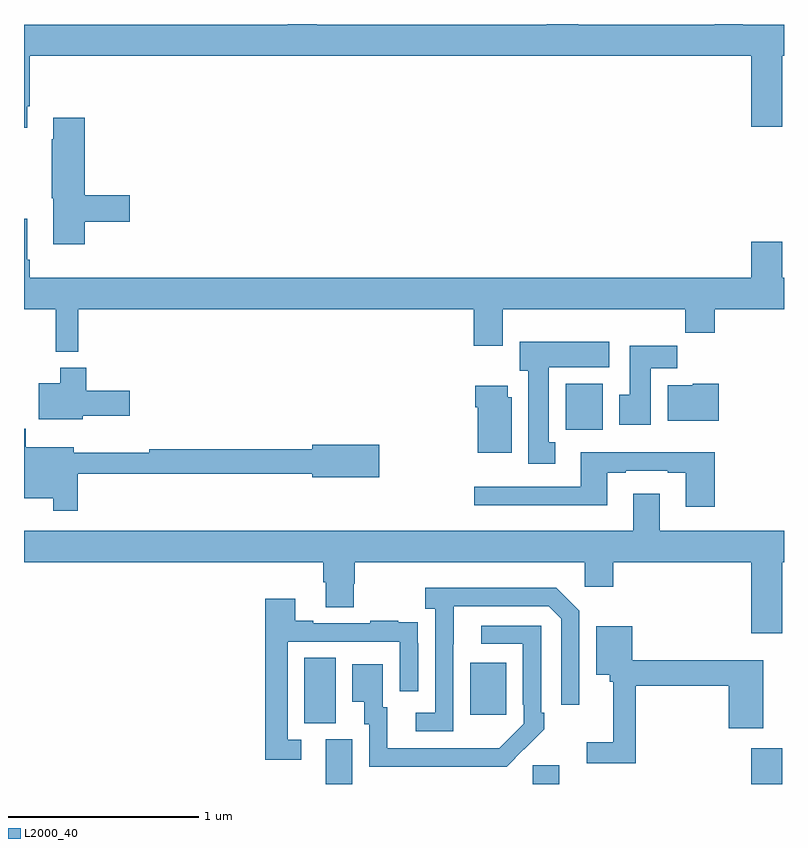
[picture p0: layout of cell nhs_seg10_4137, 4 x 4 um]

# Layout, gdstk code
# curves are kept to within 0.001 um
import gdstk
lib = gdstk.Library(unit=1e-6, precision=1e-09)
def R(c, l, rs):  # rectangles x0, y0, x1, y1
    for r in rs: c.add(gdstk.rectangle(r[:2], r[2:], *l))
def P(c, l, *ps):  # polygons
    for p in ps: c.add(gdstk.Polygon(p, *l))
L2000_40 = (2000, 40)

nhs_seg10_4137 = lib.new_cell('nhs_seg10_4137')
R(nhs_seg10_4137, L2000_40, [(342.587,1280.5,342.727,1280.736), (343.677,1280.5,343.816,1280.598), (344.828,1280.5,344.992,1280.689), (342.476,1280.821,342.64,1281.164), (343.349,1280.865,343.537,1281.139), (343.85,1282.364,344.047,1282.606)])
P(nhs_seg10_4137, L2000_40, [(341.017,1284.067),(341.03,1284.067),(341.03,1284.332),(344.828,1284.332),(344.828,1283.958),(344.992,1283.958),(344.992,1284.332),(345,1284.332),(345,1284.496),(344.782,1284.496),(344.782,1284.5),(344.635,1284.5),(344.635,1284.496),(343.916,1284.496),(343.916,1284.5),(343.751,1284.5),(343.751,1284.496),(342.54,1284.496),(342.54,1284.5),(342.389,1284.5),(342.389,1284.496),(341,1284.496),(341,1283.955),(341.017,1283.955)],
  [(341.321,1283.458),(341.557,1283.458),(341.557,1283.6),(341.321,1283.6),(341.321,1284.007),(341.153,1284.007),(341.153,1283.894),(341.146,1283.894),(341.146,1283.583),(341.153,1283.583),(341.153,1283.34),(341.321,1283.34)],
  [(341.285,1283),(343.367,1283),(343.367,1282.806),(343.519,1282.806),(343.519,1283),(344.479,1283),(344.479,1282.876),(344.636,1282.876),(344.636,1283),(345,1283),(345,1283.164),(344.992,1283.164),(344.992,1283.353),(344.828,1283.353),(344.828,1283.164),(341.03,1283.164),(341.03,1283.26),(341.017,1283.26),(341.017,1283.476),(341,1283.476),(341,1283),(341.168,1283),(341.168,1282.775),(341.285,1282.775)],
  [(343.795,1282.298),(343.762,1282.298),(343.762,1282.694),(344.08,1282.694),(344.08,1282.828),(343.61,1282.828),(343.61,1282.674),(343.655,1282.674),(343.655,1282.185),(343.795,1282.185)],
  [(344.299,1282.688),(344.438,1282.688),(344.438,1282.807),(344.189,1282.807),(344.189,1282.548),(344.132,1282.548),(344.132,1282.392),(344.299,1282.392)],
  [(341.31,1282.439),(341.557,1282.439),(341.557,1282.569),(341.327,1282.569),(341.327,1282.69),(341.192,1282.69),(341.192,1282.609),(341.078,1282.609),(341.078,1282.421),(341.31,1282.421)],
  [(344.656,1282.606),(344.52,1282.606),(344.52,1282.6),(344.387,1282.6),(344.387,1282.412),(344.656,1282.412)],
  [(343.567,1282.536),(343.546,1282.536),(343.546,1282.597),(343.376,1282.597),(343.376,1282.484),(343.388,1282.484),(343.388,1282.244),(343.567,1282.244)],
  [(341.282,1282.134),(342.518,1282.134),(342.518,1282.115),(342.871,1282.115),(342.871,1282.286),(342.518,1282.286),(342.518,1282.262),(341.659,1282.262),(341.659,1282.244),(341.263,1282.244),(341.263,1282.273),(341.009,1282.273),(341.009,1282.369),(341,1282.369),(341,1282.004),(341.154,1282.004),(341.154,1281.939),(341.282,1281.939)],
  [(344.636,1282.246),(343.931,1282.246),(343.931,1282.065),(343.371,1282.065),(343.371,1281.968),(344.071,1281.968),(344.071,1282.137),(344.167,1282.137),(344.167,1282.149),(344.387,1282.149),(344.387,1282.137),(344.483,1282.137),(344.483,1281.96),(344.636,1281.96)],
  [(341,1281.668),(342.575,1281.668),(342.575,1281.562),(342.587,1281.562),(342.587,1281.43),(342.735,1281.43),(342.735,1281.555),(342.74,1281.555),(342.74,1281.668),(343.95,1281.668),(343.95,1281.537),(344.102,1281.537),(344.102,1281.668),(344.828,1281.668),(344.828,1281.294),(344.992,1281.294),(344.992,1281.668),(345,1281.668),(345,1281.832),(344.347,1281.832),(344.347,1282.027),(344.207,1282.027),(344.207,1281.832),(341,1281.832)],
  [(343.26,1281.235),(343.261,1281.435),(343.761,1281.435),(343.827,1281.369),(343.827,1280.916),(343.923,1280.916),(343.923,1281.411),(343.802,1281.532),(343.113,1281.532),(343.113,1281.422),(343.164,1281.422),(343.164,1280.874),(343.062,1280.874),(343.062,1280.778),(343.26,1280.778)],
  [(342.46,1280.733),(342.387,1280.733),(342.387,1281.249),(342.978,1281.249),(342.978,1280.988),(343.074,1280.988),(343.074,1281.242),(343.073,1281.242),(343.073,1281.351),(342.971,1281.351),(342.971,1281.358),(342.823,1281.358),(342.823,1281.345),(342.523,1281.345),(342.523,1281.358),(342.427,1281.358),(342.427,1281.475),(342.271,1281.475),(342.271,1280.628),(342.46,1280.628)],
  [(343.631,1280.683),(343.632,1280.682),(343.737,1280.787),(343.737,1280.875),(343.722,1280.875),(343.722,1281.333),(343.407,1281.333),(343.407,1281.237),(343.626,1281.237),(343.626,1280.917),(343.629,1280.917),(343.629,1280.817),(343.501,1280.689),(342.913,1280.688),(342.913,1280.904),(342.889,1280.904),(342.889,1281.13),(342.728,1281.13),(342.728,1280.933),(342.791,1280.933),(342.791,1280.814),(342.816,1280.814),(342.816,1280.592),(343.54,1280.592)],
  [(344.219,1281.016),(344.708,1281.016),(344.708,1280.793),(344.891,1280.793),(344.891,1281.152),(344.2,1281.152),(344.2,1281.331),(344.012,1281.331),(344.012,1281.074),(344.084,1281.074),(344.084,1281.039),(344.102,1281.039),(344.102,1280.719),(343.962,1280.719),(343.962,1280.61),(344.219,1280.61)])

lib.write_gds('nhs_seg10_4137.gds')
